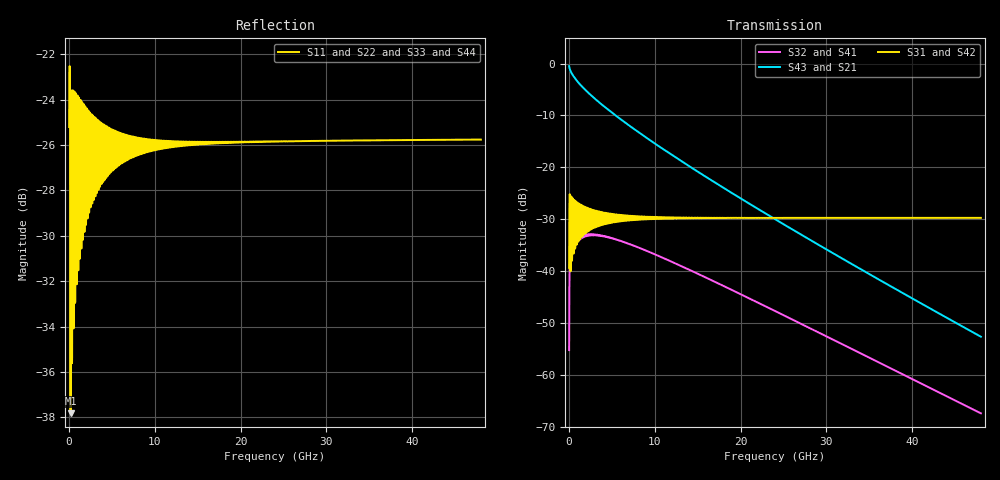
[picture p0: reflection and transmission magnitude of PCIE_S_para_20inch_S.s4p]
#	Hz	S	MA	R	50
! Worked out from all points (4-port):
!   4800 points, 10 MHz to 48 GHz, reference 50 ohm
!   strongest paths, dB at 10 MHz, 12.01 GHz, 24.01 GHz, 36.01 GHz, 48 GHz:
!     S31: -39.4, -29.8, -29.8, -29.8, -29.8
!     S42: -39.4, -29.8, -29.8, -29.8, -29.8
!     S43: -0.5, -17.6, -30.0, -41.6, -52.7
!     S21: -0.5, -17.6, -30.0, -41.6, -52.7
!     S32: -55.3, -38.3, -47.7, -57.5, -67.4
!     S41: -55.3, -38.3, -47.7, -57.5, -67.4
!   lowest |S11| = -37.8 dB at 180 MHz (marker M1), VSWR 1.03, Z = 49.2 - j1 ohm
!   |S11| at or under -10 dB: start of sweep to end of sweep
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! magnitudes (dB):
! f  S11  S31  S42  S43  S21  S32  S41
! 10 MHz  -25.2  -39.4  -39.4  -0.5  -0.5  -55.3  -55.3
! 180 MHz  -37.8  -39.6  -39.6  -1.4  -1.4  -39.1  -39.1
! 270 MHz  -23.6  -25.7  -25.7  -1.8  -1.8  -36.3  -36.3
! 440 MHz  -23.6  -26.0  -26.0  -2.3  -2.3  -35.2  -35.2
! 1.33 GHz  -24.3  -27.4  -27.4  -4.1  -4.1  -33.3  -33.3
! 5.86 GHz  -25.7  -29.3  -29.3  -10.6  -10.6  -34.1  -34.1
! 48 GHz  -25.8  -29.8  -29.8  -52.7  -52.7  -67.4  -67.4
